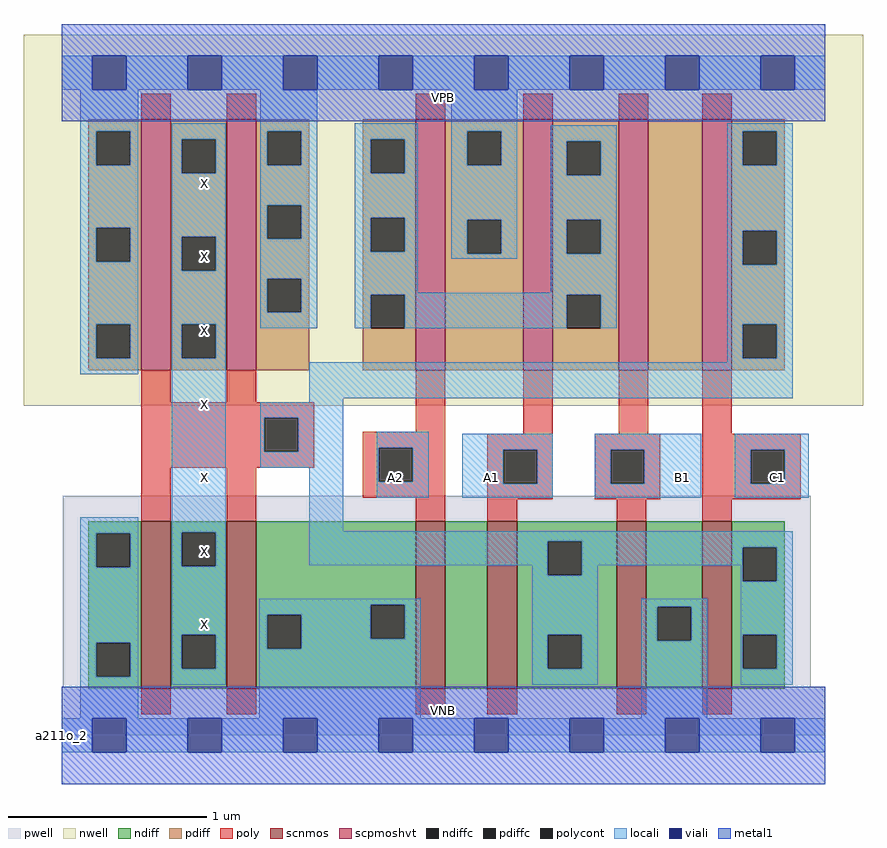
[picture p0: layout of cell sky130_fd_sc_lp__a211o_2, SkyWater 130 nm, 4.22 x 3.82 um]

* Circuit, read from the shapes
.subckt sky130_fd_sc_lp__a211o_2 A1 A2 B1 C1 VGND VNB VPB VPWR X
XM1 X n1 VGND VNB sky130_fd_pr__nfet_01v8 w=0.84 l=0.15 m=2
XM2 n2 A2 VGND VNB sky130_fd_pr__nfet_01v8 w=0.84 l=0.15
XM3 n1 A1 n2 VNB sky130_fd_pr__nfet_01v8 w=0.84 l=0.15
XM4 VGND B1 n1 VNB sky130_fd_pr__nfet_01v8 w=0.84 l=0.15
XM5 n1 C1 VGND VNB sky130_fd_pr__nfet_01v8 w=0.84 l=0.15
XM6 X n1 VPWR VPB sky130_fd_pr__pfet_01v8_hvt w=1.26 l=0.15 m=2
XM7 VPWR A2 n3 VPB sky130_fd_pr__pfet_01v8_hvt w=1.26 l=0.15
XM8 n3 A1 VPWR VPB sky130_fd_pr__pfet_01v8_hvt w=1.26 l=0.15
XM9 n4 B1 n3 VPB sky130_fd_pr__pfet_01v8_hvt w=1.26 l=0.15
XM10 n1 C1 n4 VPB sky130_fd_pr__pfet_01v8_hvt w=1.26 l=0.15
.ends

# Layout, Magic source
magic
tech sky130A
magscale 1 2
<< nwell >>
rect -38 331 806 704
<< pwell >>
rect 1 49 753 241
rect 0 0 768 49
<< scnmos >>
rect 80 47 110 215
rect 166 47 196 215
rect 356 47 386 215
rect 428 47 458 215
rect 558 47 588 215
rect 644 47 674 215
<< scpmoshvt >>
rect 80 367 110 619
rect 166 367 196 619
rect 356 367 386 619
rect 464 367 494 619
rect 560 367 590 619
rect 644 367 674 619
<< ndiff >>
rect 27 203 80 215
rect 27 169 35 203
rect 69 169 80 203
rect 27 93 80 169
rect 27 59 35 93
rect 69 59 80 93
rect 27 47 80 59
rect 110 204 166 215
rect 110 170 121 204
rect 155 170 166 204
rect 110 101 166 170
rect 110 67 121 101
rect 155 67 166 101
rect 110 47 166 67
rect 196 131 356 215
rect 196 121 311 131
rect 196 87 207 121
rect 241 97 311 121
rect 345 97 356 131
rect 241 87 356 97
rect 196 47 356 87
rect 386 47 428 215
rect 458 195 558 215
rect 458 161 489 195
rect 523 161 558 195
rect 458 101 558 161
rect 458 67 489 101
rect 523 67 558 101
rect 458 47 558 67
rect 588 129 644 215
rect 588 95 599 129
rect 633 95 644 129
rect 588 47 644 95
rect 674 189 727 215
rect 674 155 685 189
rect 719 155 727 189
rect 674 101 727 155
rect 674 67 685 101
rect 719 67 727 101
rect 674 47 727 67
<< pdiff >>
rect 27 607 80 619
rect 27 573 35 607
rect 69 573 80 607
rect 27 510 80 573
rect 27 476 35 510
rect 69 476 80 510
rect 27 413 80 476
rect 27 379 35 413
rect 69 379 80 413
rect 27 367 80 379
rect 110 599 166 619
rect 110 565 121 599
rect 155 565 166 599
rect 110 501 166 565
rect 110 467 121 501
rect 155 467 166 501
rect 110 413 166 467
rect 110 379 121 413
rect 155 379 166 413
rect 110 367 166 379
rect 196 607 249 619
rect 196 573 207 607
rect 241 573 249 607
rect 196 533 249 573
rect 196 499 207 533
rect 241 499 249 533
rect 196 459 249 499
rect 196 425 207 459
rect 241 425 249 459
rect 196 367 249 425
rect 303 599 356 619
rect 303 565 311 599
rect 345 565 356 599
rect 303 520 356 565
rect 303 486 311 520
rect 345 486 356 520
rect 303 443 356 486
rect 303 409 311 443
rect 345 409 356 443
rect 303 367 356 409
rect 386 607 464 619
rect 386 573 408 607
rect 442 573 464 607
rect 386 518 464 573
rect 386 484 408 518
rect 442 484 464 518
rect 386 367 464 484
rect 494 597 560 619
rect 494 563 508 597
rect 542 563 560 597
rect 494 518 560 563
rect 494 484 508 518
rect 542 484 560 518
rect 494 443 560 484
rect 494 409 508 443
rect 542 409 560 443
rect 494 367 560 409
rect 590 367 644 619
rect 674 607 727 619
rect 674 573 685 607
rect 719 573 727 607
rect 674 507 727 573
rect 674 473 685 507
rect 719 473 727 507
rect 674 413 727 473
rect 674 379 685 413
rect 719 379 727 413
rect 674 367 727 379
<< ndiffc >>
rect 35 169 69 203
rect 35 59 69 93
rect 121 170 155 204
rect 121 67 155 101
rect 207 87 241 121
rect 311 97 345 131
rect 489 161 523 195
rect 489 67 523 101
rect 599 95 633 129
rect 685 155 719 189
rect 685 67 719 101
<< pdiffc >>
rect 35 573 69 607
rect 35 476 69 510
rect 35 379 69 413
rect 121 565 155 599
rect 121 467 155 501
rect 121 379 155 413
rect 207 573 241 607
rect 207 499 241 533
rect 207 425 241 459
rect 311 565 345 599
rect 311 486 345 520
rect 311 409 345 443
rect 408 573 442 607
rect 408 484 442 518
rect 508 563 542 597
rect 508 484 542 518
rect 508 409 542 443
rect 685 573 719 607
rect 685 473 719 507
rect 685 379 719 413
<< poly >>
rect 80 619 110 645
rect 166 619 196 645
rect 356 619 386 645
rect 464 619 494 645
rect 560 619 590 645
rect 644 619 674 645
rect 80 335 110 367
rect 166 335 196 367
rect 80 319 254 335
rect 80 285 204 319
rect 238 285 254 319
rect 356 305 386 367
rect 80 269 254 285
rect 303 289 386 305
rect 464 303 494 367
rect 560 303 590 367
rect 644 303 674 367
rect 80 215 110 269
rect 166 215 196 269
rect 303 255 319 289
rect 353 255 386 289
rect 303 239 386 255
rect 356 215 386 239
rect 428 287 494 303
rect 428 253 444 287
rect 478 253 494 287
rect 428 237 494 253
rect 536 287 602 303
rect 536 253 552 287
rect 586 253 602 287
rect 536 237 602 253
rect 644 287 743 303
rect 644 253 693 287
rect 727 253 743 287
rect 644 237 743 253
rect 428 215 458 237
rect 558 215 588 237
rect 644 215 674 237
rect 80 21 110 47
rect 166 21 196 47
rect 356 21 386 47
rect 428 21 458 47
rect 558 21 588 47
rect 644 21 674 47
<< polycont >>
rect 204 285 238 319
rect 319 255 353 289
rect 444 253 478 287
rect 552 253 586 287
rect 693 253 727 287
<< locali >>
rect 0 649 31 683
rect 65 649 127 683
rect 161 649 223 683
rect 257 649 319 683
rect 353 649 415 683
rect 449 649 511 683
rect 545 649 607 683
rect 641 649 703 683
rect 737 649 768 683
rect 19 607 77 649
rect 19 573 35 607
rect 69 573 77 607
rect 19 510 77 573
rect 19 476 35 510
rect 69 476 77 510
rect 19 413 77 476
rect 19 379 35 413
rect 69 379 77 413
rect 19 363 77 379
rect 111 599 165 615
rect 111 565 121 599
rect 155 565 165 599
rect 111 501 165 565
rect 111 467 121 501
rect 155 467 165 501
rect 111 413 165 467
rect 111 379 121 413
rect 155 379 165 413
rect 200 607 257 649
rect 200 573 207 607
rect 241 573 257 607
rect 200 533 257 573
rect 200 499 207 533
rect 241 499 257 533
rect 200 459 257 499
rect 200 425 207 459
rect 241 425 257 459
rect 200 409 257 425
rect 295 599 358 615
rect 295 565 311 599
rect 345 565 358 599
rect 295 520 358 565
rect 295 486 311 520
rect 345 486 358 520
rect 295 445 358 486
rect 392 607 458 649
rect 392 573 408 607
rect 442 573 458 607
rect 392 518 458 573
rect 392 484 408 518
rect 442 484 458 518
rect 392 479 458 484
rect 492 597 558 613
rect 492 563 508 597
rect 542 563 558 597
rect 492 518 558 563
rect 492 484 508 518
rect 542 484 558 518
rect 492 445 558 484
rect 295 443 558 445
rect 295 409 311 443
rect 345 409 508 443
rect 542 409 558 443
rect 669 607 735 615
rect 669 573 685 607
rect 719 573 735 607
rect 669 507 735 573
rect 669 473 685 507
rect 719 473 735 507
rect 669 413 735 473
rect 19 203 77 219
rect 19 169 35 203
rect 69 169 77 203
rect 19 93 77 169
rect 19 59 35 93
rect 69 59 77 93
rect 19 17 77 59
rect 111 204 165 379
rect 669 379 685 413
rect 719 379 735 413
rect 669 375 735 379
rect 249 339 735 375
rect 249 335 283 339
rect 200 319 283 335
rect 200 285 204 319
rect 238 285 283 319
rect 200 269 283 285
rect 111 170 121 204
rect 155 170 165 204
rect 249 205 283 269
rect 317 289 369 305
rect 317 255 319 289
rect 353 255 369 289
rect 317 239 369 255
rect 403 287 494 303
rect 403 253 444 287
rect 478 253 494 287
rect 403 239 494 253
rect 536 287 643 303
rect 536 253 552 287
rect 586 253 643 287
rect 536 239 643 253
rect 677 287 751 303
rect 677 253 693 287
rect 727 253 751 287
rect 677 239 751 253
rect 249 195 735 205
rect 249 171 489 195
rect 111 101 165 170
rect 473 161 489 171
rect 523 189 735 195
rect 523 171 685 189
rect 523 161 539 171
rect 111 67 121 101
rect 155 67 165 101
rect 111 51 165 67
rect 199 131 361 137
rect 199 121 311 131
rect 199 87 207 121
rect 241 97 311 121
rect 345 97 361 131
rect 241 87 361 97
rect 199 17 361 87
rect 473 101 539 161
rect 683 155 685 171
rect 719 155 735 189
rect 473 67 489 101
rect 523 67 539 101
rect 473 51 539 67
rect 583 129 649 137
rect 583 95 599 129
rect 633 95 649 129
rect 583 17 649 95
rect 683 101 735 155
rect 683 67 685 101
rect 719 67 735 101
rect 683 51 735 67
rect 0 -17 31 17
rect 65 -17 127 17
rect 161 -17 223 17
rect 257 -17 319 17
rect 353 -17 415 17
rect 449 -17 511 17
rect 545 -17 607 17
rect 641 -17 703 17
rect 737 -17 768 17
<< viali >>
rect 31 649 65 683
rect 127 649 161 683
rect 223 649 257 683
rect 319 649 353 683
rect 415 649 449 683
rect 511 649 545 683
rect 607 649 641 683
rect 703 649 737 683
rect 31 -17 65 17
rect 127 -17 161 17
rect 223 -17 257 17
rect 319 -17 353 17
rect 415 -17 449 17
rect 511 -17 545 17
rect 607 -17 641 17
rect 703 -17 737 17
<< metal1 >>
rect 0 683 768 715
rect 0 649 31 683
rect 65 649 127 683
rect 161 649 223 683
rect 257 649 319 683
rect 353 649 415 683
rect 449 649 511 683
rect 545 649 607 683
rect 641 649 703 683
rect 737 649 768 683
rect 0 617 768 649
rect 0 17 768 49
rect 0 -17 31 17
rect 65 -17 127 17
rect 161 -17 223 17
rect 257 -17 319 17
rect 353 -17 415 17
rect 449 -17 511 17
rect 545 -17 607 17
rect 641 -17 703 17
rect 737 -17 768 17
rect 0 -49 768 -17
<< labels >>
flabel pwell s 0 0 768 49 0 FreeSans 200 0 0 0 VNB
port 6 nsew ground bidirectional
flabel nwell s 0 617 768 666 0 FreeSans 200 0 0 0 VPB
port 7 nsew power bidirectional
rlabel comment s 0 0 0 0 4 a211o_2
flabel metal1 s 0 617 768 666 0 FreeSans 340 0 0 0 VPWR
port 8 nsew power bidirectional
flabel metal1 s 0 0 768 49 0 FreeSans 340 0 0 0 VGND
port 5 nsew ground bidirectional
flabel locali s 127 94 161 128 0 FreeSans 340 0 0 0 X
port 9 nsew signal output
flabel locali s 127 168 161 202 0 FreeSans 340 0 0 0 X
port 9 nsew signal output
flabel locali s 127 242 161 276 0 FreeSans 340 0 0 0 X
port 9 nsew signal output
flabel locali s 127 316 161 350 0 FreeSans 340 0 0 0 X
port 9 nsew signal output
flabel locali s 127 390 161 424 0 FreeSans 340 0 0 0 X
port 9 nsew signal output
flabel locali s 127 464 161 498 0 FreeSans 340 0 0 0 X
port 9 nsew signal output
flabel locali s 127 538 161 572 0 FreeSans 340 0 0 0 X
port 9 nsew signal output
flabel locali s 415 242 449 276 0 FreeSans 340 0 0 0 A1
port 1 nsew signal input
flabel locali s 319 242 353 276 0 FreeSans 340 0 0 0 A2
port 2 nsew signal input
flabel locali s 607 242 641 276 0 FreeSans 340 0 0 0 B1
port 3 nsew signal input
flabel locali s 703 242 737 276 0 FreeSans 340 0 0 0 C1
port 4 nsew signal input
<< properties >>
string LEFsite unit
string LEFclass CORE
string FIXED_BBOX 0 0 768 666
string GDS_FILE $PDKPATH/libs.ref/sky130_fd_sc_lp/gds/sky130_fd_sc_lp.gds
string LEFsymmetry X Y R90
string GDS_END 1961834
string GDS_START 1954194
<< end >>
